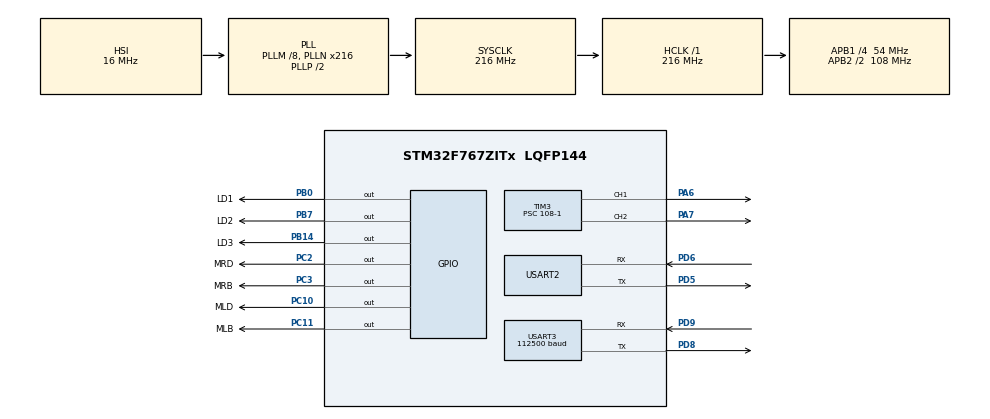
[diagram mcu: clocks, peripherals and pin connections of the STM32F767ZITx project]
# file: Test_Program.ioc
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Mcu.Family=STM32F7
Mcu.Name=STM32F767ZITx
Mcu.Package=LQFP144
NVIC.PriorityGroup=NVIC_PRIORITYGROUP_4
NVIC.TIM2_IRQn=true\:0\:0\:false\:false\:true\:true\:true\:true
NVIC.TIM3_IRQn=true\:0\:0\:false\:false\:true\:true\:true\:true
NVIC.USART2_IRQn=true\:0\:0\:false\:false\:true\:true\:true\:true
NVIC.USART3_IRQn=true\:0\:0\:false\:false\:true\:true\:true\:true
PA6.Signal=S_TIM3_CH1
PA7.Signal=S_TIM3_CH2
PB0.GPIO_Label=LD1
PB0.Signal=GPIO_Output
PB14.GPIO_Label=LD3
PB14.Signal=GPIO_Output
PB7.GPIO_Label=LD2
PB7.Signal=GPIO_Output
PC10.GPIO_Label=MLD
PC10.GPIO_PuPd=GPIO_PULLUP
PC10.Signal=GPIO_Output
PC11.GPIO_Label=MLB
PC11.GPIO_PuPd=GPIO_PULLUP
PC11.Signal=GPIO_Output
PC2.GPIO_Label=MRD
PC2.GPIO_PuPd=GPIO_PULLUP
PC2.Signal=GPIO_Output
PC3.GPIO_Label=MRB
PC3.GPIO_PuPd=GPIO_PULLUP
PC3.Signal=GPIO_Output
PD5.Mode=Asynchronous
PD5.Signal=USART2_TX
PD6.Mode=Asynchronous
PD6.Signal=USART2_RX
PD8.Mode=Asynchronous
PD8.Signal=USART3_TX
PD9.Mode=Asynchronous
PD9.Signal=USART3_RX
ProjectManager.HeapSize=0x200
ProjectManager.StackSize=0x400
ProjectManager.TargetToolchain=STM32CubeIDE
RCC.AHBFreq_Value=216000000
RCC.APB1CLKDivider=RCC_HCLK_DIV4
RCC.APB1Freq_Value=54000000
RCC.APB1TimFreq_Value=108000000
RCC.APB2CLKDivider=RCC_HCLK_DIV2
RCC.APB2Freq_Value=108000000
RCC.APB2TimFreq_Value=216000000
RCC.CortexFreq_Value=216000000
RCC.HCLKFreq_Value=216000000
RCC.HSE_VALUE=25000000
RCC.HSI_VALUE=16000000
RCC.LSE_VALUE=32768
RCC.PLLM=8
RCC.PLLN=216
RCC.SYSCLKFreq_VALUE=216000000
RCC.SYSCLKSource=RCC_SYSCLKSOURCE_PLLCLK
RCC.USBFreq_Value=216000000
RCC.VCOOutputFreq_Value=432000000
SH.S_TIM3_CH1.0=TIM3_CH1,PWM Generation1 CH1
SH.S_TIM3_CH2.0=TIM3_CH2,PWM Generation2 CH2
TIM2.Period=100-1
TIM2.Prescaler=108-1
TIM3.AutoReloadPreload=TIM_AUTORELOAD_PRELOAD_ENABLE
TIM3.Channel-PWM\ Generation1\ CH1=TIM_CHANNEL_1
TIM3.Channel-PWM\ Generation2\ CH2=TIM_CHANNEL_2
TIM3.Period=100-1
TIM3.Prescaler=108-1
TIM3.Pulse-PWM\ Generation1\ CH1=50-1
USART2.VirtualMode-Asynchronous=VM_ASYNC
USART3.BaudRate=112500
USART3.VirtualMode-Asynchronous=VM_ASYNC
VP_TIM2_VS_ClockSourceINT.Mode=Internal
VP_TIM3_VS_ClockSourceINT.Mode=Internal
board=custom

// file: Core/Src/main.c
/* USER CODE BEGIN Header */
/**
  ******************************************************************************
  * @file           : main.c
  * @brief          : Main program body
  ******************************************************************************
  * @attention
  *
  * Copyright (c) 2023 STMicroelectronics.
  * All rights reserved.
  *
  * This software is licensed under terms that can be found in the LICENSE file
  * in the root directory of this software component.
  * If no LICENSE file comes with this software, it is provided AS-IS.
  *
  ******************************************************************************
  */
/* USER CODE END Header */
#include "main.h"

/* USER CODE BEGIN Includes */
#include <stdio.h>
#include <string.h>
#include "stdbool.h"
#include "stdlib.h"
/* USER CODE END Includes */

/* USER CODE BEGIN PTD */
#define RX_BUF 10
/* USER CODE END PTD */

TIM_HandleTypeDef htim2;
TIM_HandleTypeDef htim3;

UART_HandleTypeDef huart2;
UART_HandleTypeDef huart3;

/* USER CODE BEGIN PV */
uint8_t rx_data;
char data_arr[RX_BUF] = "";
char data_cmd[RX_BUF] = "";
uint8_t idx;

uint8_t tim_flag;

struct speed{
	uint8_t mt1;
	uint8_t mt2;
	uint8_t mt3;
}motor;

/* USER CODE END PV */

void SystemClock_Config(void);
static void MX_GPIO_Init(void);
static void MX_USART3_UART_Init(void);
static void MX_TIM3_Init(void);
static void MX_USART2_UART_Init(void);
static void MX_TIM2_Init(void);
/* USER CODE BEGIN PFP */
void Command_Access();
void Motor_Test_Function();
void Motor_Reset();
void Motor_Drive();
void Motor_Stop();
void Motor_Dir(uint8_t dir);
void Motor_Spd(uint16_t spd);

//update 23.06.09
void Motor_Update();

void Msg_Help();
/* USER CODE END PFP */

/* USER CODE BEGIN 0 */
#ifdef __cplusplus
extern "C" int _write(int32_t file, uint8_t *ptr, int32_t len) {
#else
	int _write(int32_t file, uint8_t *ptr, int32_t len) {
#endif
		if( HAL_UART_Transmit(&huart2, ptr, len, len) == HAL_OK ) return len;
		else return 0;
	}

/* USER CODE END 0 */

int main(void)
{

  /* MCU Configuration--------------------------------------------------------*/

  /* Reset of all peripherals, Initializes the Flash interface and the Systick. */
  HAL_Init();

  /* Configure the system clock */
  SystemClock_Config();

  /* Initialize all configured peripherals */
  MX_GPIO_Init();
  MX_USART3_UART_Init();
  MX_TIM3_Init();
  MX_USART2_UART_Init();
  MX_TIM2_Init();
  /* USER CODE BEGIN 2 */
  HAL_TIM_Base_Start_IT(&htim2);
  HAL_TIM_Base_Start_IT(&htim3);

  HAL_TIM_PWM_Start(&htim3, TIM_CHANNEL_1);
  HAL_TIM_PWM_Start(&htim3, TIM_CHANNEL_2);

  HAL_UART_Receive_IT(&huart3, &rx_data, 1);
  HAL_UART_Receive_IT(&huart2, &rx_data, 1);

  HAL_GPIO_WritePin(LD1_GPIO_Port, LD1_Pin, RESET);
  HAL_GPIO_WritePin(LD1_GPIO_Port, LD1_Pin, SET);
  HAL_GPIO_WritePin(LD1_GPIO_Port, LD1_Pin, SET);

  printf("Program has been reset.\r\n");
  printf("Ver.1.0.0.\r\n");
  Motor_Reset();
  /* USER CODE END 2 */

  /* Infinite loop */
  /* USER CODE BEGIN WHILE */
  while (1)
  {
	  //printf("Hello  World\r\n");
	  if(tim_flag >= 10){
		  Motor_Update();
		  tim_flag = 0;
	  }
	  //Motor_Test_Function();
    /* USER CODE END WHILE */

  }
}

void SystemClock_Config(void)
{
  RCC_OscInitTypeDef RCC_OscInitStruct = {0};
  RCC_ClkInitTypeDef RCC_ClkInitStruct = {0};

  /** Configure the main internal regulator output voltage
  */
  __HAL_RCC_PWR_CLK_ENABLE();
  __HAL_PWR_VOLTAGESCALING_CONFIG(PWR_REGULATOR_VOLTAGE_SCALE1);

  /** Initializes the RCC Oscillators according to the specified parameters
  * in the RCC_OscInitTypeDef structure.
  */
  RCC_OscInitStruct.OscillatorType = RCC_OSCILLATORTYPE_HSI;
  RCC_OscInitStruct.HSIState = RCC_HSI_ON;
  RCC_OscInitStruct.HSICalibrationValue = RCC_HSICALIBRATION_DEFAULT;
  RCC_OscInitStruct.PLL.PLLState = RCC_PLL_ON;
  RCC_OscInitStruct.PLL.PLLSource = RCC_PLLSOURCE_HSI;
  RCC_OscInitStruct.PLL.PLLM = 8;
  RCC_OscInitStruct.PLL.PLLN = 216;
  RCC_OscInitStruct.PLL.PLLP = RCC_PLLP_DIV2;
  RCC_OscInitStruct.PLL.PLLQ = 2;
  RCC_OscInitStruct.PLL.PLLR = 2;
  if (HAL_RCC_OscConfig(&RCC_OscInitStruct) != HAL_OK)
  {
    Error_Handler();
  }

  /** Activate the Over-Drive mode
  */
  if (HAL_PWREx_EnableOverDrive() != HAL_OK)
  {
    Error_Handler();
  }

  /** Initializes the CPU, AHB and APB buses clocks
  */
  RCC_ClkInitStruct.ClockType = RCC_CLOCKTYPE_HCLK|RCC_CLOCKTYPE_SYSCLK
                              |RCC_CLOCKTYPE_PCLK1|RCC_CLOCKTYPE_PCLK2;
  RCC_ClkInitStruct.SYSCLKSource = RCC_SYSCLKSOURCE_PLLCLK;
  RCC_ClkInitStruct.AHBCLKDivider = RCC_SYSCLK_DIV1;
  RCC_ClkInitStruct.APB1CLKDivider = RCC_HCLK_DIV4;
  RCC_ClkInitStruct.APB2CLKDivider = RCC_HCLK_DIV2;

  if (HAL_RCC_ClockConfig(&RCC_ClkInitStruct, FLASH_LATENCY_7) != HAL_OK)
  {
    Error_Handler();
  }
}

static void MX_TIM2_Init(void)
{

  TIM_ClockConfigTypeDef sClockSourceConfig = {0};
  TIM_MasterConfigTypeDef sMasterConfig = {0};

  htim2.Instance = TIM2;
  htim2.Init.Prescaler = 108-1;
  htim2.Init.CounterMode = TIM_COUNTERMODE_UP;
  htim2.Init.Period = 100-1;
  htim2.Init.ClockDivision = TIM_CLOCKDIVISION_DIV1;
  htim2.Init.AutoReloadPreload = TIM_AUTORELOAD_PRELOAD_DISABLE;
  if (HAL_TIM_Base_Init(&htim2) != HAL_OK)
  {
    Error_Handler();
  }
  sClockSourceConfig.ClockSource = TIM_CLOCKSOURCE_INTERNAL;
  if (HAL_TIM_ConfigClockSource(&htim2, &sClockSourceConfig) != HAL_OK)
  {
    Error_Handler();
  }
  sMasterConfig.MasterOutputTrigger = TIM_TRGO_RESET;
  sMasterConfig.MasterSlaveMode = TIM_MASTERSLAVEMODE_DISABLE;
  if (HAL_TIMEx_MasterConfigSynchronization(&htim2, &sMasterConfig) != HAL_OK)
  {
    Error_Handler();
  }

}

static void MX_TIM3_Init(void)
{

  TIM_ClockConfigTypeDef sClockSourceConfig = {0};
  TIM_MasterConfigTypeDef sMasterConfig = {0};
  TIM_OC_InitTypeDef sConfigOC = {0};

  htim3.Instance = TIM3;
  htim3.Init.Prescaler = 108-1;
  htim3.Init.CounterMode = TIM_COUNTERMODE_UP;
  htim3.Init.Period = 100-1;
  htim3.Init.ClockDivision = TIM_CLOCKDIVISION_DIV1;
  htim3.Init.AutoReloadPreload = TIM_AUTORELOAD_PRELOAD_ENABLE;
  if (HAL_TIM_Base_Init(&htim3) != HAL_OK)
  {
    Error_Handler();
  }
  sClockSourceConfig.ClockSource = TIM_CLOCKSOURCE_INTERNAL;
  if (HAL_TIM_ConfigClockSource(&htim3, &sClockSourceConfig) != HAL_OK)
  {
    Error_Handler();
  }
  if (HAL_TIM_PWM_Init(&htim3) != HAL_OK)
  {
    Error_Handler();
  }
  sMasterConfig.MasterOutputTrigger = TIM_TRGO_RESET;
  sMasterConfig.MasterSlaveMode = TIM_MASTERSLAVEMODE_DISABLE;
  if (HAL_TIMEx_MasterConfigSynchronization(&htim3, &sMasterConfig) != HAL_OK)
  {
    Error_Handler();
  }
  sConfigOC.OCMode = TIM_OCMODE_PWM1;
  sConfigOC.Pulse = 50-1;
  sConfigOC.OCPolarity = TIM_OCPOLARITY_HIGH;
  sConfigOC.OCFastMode = TIM_OCFAST_DISABLE;
  if (HAL_TIM_PWM_ConfigChannel(&htim3, &sConfigOC, TIM_CHANNEL_1) != HAL_OK)
  {
    Error_Handler();
  }
  sConfigOC.Pulse = 0;
  if (HAL_TIM_PWM_ConfigChannel(&htim3, &sConfigOC, TIM_CHANNEL_2) != HAL_OK)
  {
    Error_Handler();
  }
  HAL_TIM_MspPostInit(&htim3);

}

static void MX_USART2_UART_Init(void)
{

  huart2.Instance = USART2;
  huart2.Init.BaudRate = 115200;
  huart2.Init.WordLength = UART_WORDLENGTH_8B;
  huart2.Init.StopBits = UART_STOPBITS_1;
  huart2.Init.Parity = UART_PARITY_NONE;
  huart2.Init.Mode = UART_MODE_TX_RX;
  huart2.Init.HwFlowCtl = UART_HWCONTROL_NONE;
  huart2.Init.OverSampling = UART_OVERSAMPLING_16;
  huart2.Init.OneBitSampling = UART_ONE_BIT_SAMPLE_DISABLE;
  huart2.AdvancedInit.AdvFeatureInit = UART_ADVFEATURE_NO_INIT;
  if (HAL_UART_Init(&huart2) != HAL_OK)
  {
    Error_Handler();
  }

}

static void MX_USART3_UART_Init(void)
{

  huart3.Instance = USART3;
  huart3.Init.BaudRate = 112500;
  huart3.Init.WordLength = UART_WORDLENGTH_8B;
  huart3.Init.StopBits = UART_STOPBITS_1;
  huart3.Init.Parity = UART_PARITY_NONE;
  huart3.Init.Mode = UART_MODE_TX_RX;
  huart3.Init.HwFlowCtl = UART_HWCONTROL_NONE;
  huart3.Init.OverSampling = UART_OVERSAMPLING_16;
  huart3.Init.OneBitSampling = UART_ONE_BIT_SAMPLE_DISABLE;
  huart3.AdvancedInit.AdvFeatureInit = UART_ADVFEATURE_NO_INIT;
  if (HAL_UART_Init(&huart3) != HAL_OK)
  {
    Error_Handler();
  }

}

static void MX_GPIO_Init(void)
{
  GPIO_InitTypeDef GPIO_InitStruct = {0};

  /* GPIO Ports Clock Enable */
  __HAL_RCC_GPIOC_CLK_ENABLE();
  __HAL_RCC_GPIOA_CLK_ENABLE();
  __HAL_RCC_GPIOB_CLK_ENABLE();
  __HAL_RCC_GPIOD_CLK_ENABLE();

  /*Configure GPIO pin Output Level */
  HAL_GPIO_WritePin(GPIOC, MRD_Pin|MRB_Pin|MLD_Pin|MLB_Pin, GPIO_PIN_RESET);

  /*Configure GPIO pin Output Level */
  HAL_GPIO_WritePin(GPIOB, LD1_Pin|LD3_Pin|LD2_Pin, GPIO_PIN_RESET);

  /*Configure GPIO pins : MRD_Pin MRB_Pin MLD_Pin MLB_Pin */
  GPIO_InitStruct.Pin = MRD_Pin|MRB_Pin|MLD_Pin|MLB_Pin;
  GPIO_InitStruct.Mode = GPIO_MODE_OUTPUT_PP;
  GPIO_InitStruct.Pull = GPIO_PULLUP;
  GPIO_InitStruct.Speed = GPIO_SPEED_FREQ_LOW;
  HAL_GPIO_Init(GPIOC, &GPIO_InitStruct);

  /*Configure GPIO pins : LD1_Pin LD3_Pin LD2_Pin */
  GPIO_InitStruct.Pin = LD1_Pin|LD3_Pin|LD2_Pin;
  GPIO_InitStruct.Mode = GPIO_MODE_OUTPUT_PP;
  GPIO_InitStruct.Pull = GPIO_NOPULL;
  GPIO_InitStruct.Speed = GPIO_SPEED_FREQ_LOW;
  HAL_GPIO_Init(GPIOB, &GPIO_InitStruct);

}

/* USER CODE BEGIN 4 */

void Motor_Update(){
	htim3.Instance->CCR1 = motor.mt1;
	htim3.Instance->CCR2 = motor.mt2;
}

void Motor_Test_Function(){
	//Motor Control Code for connection check(Not Essential)
	HAL_GPIO_WritePin(MLD_GPIO_Port, MLD_Pin, SET);
	HAL_GPIO_WritePin(MLB_GPIO_Port, MLB_Pin, RESET);

	HAL_GPIO_WritePin(MRD_GPIO_Port, MRD_Pin, RESET);
	HAL_GPIO_WritePin(MRB_GPIO_Port, MRB_Pin, RESET);
}

void Motor_Reset(){
	HAL_GPIO_WritePin(MLD_GPIO_Port, MLD_Pin, SET);
	HAL_GPIO_WritePin(MLB_GPIO_Port, MLB_Pin, SET);
	htim3.Instance->CCR1 = 50;

	HAL_GPIO_WritePin(MRD_GPIO_Port, MRD_Pin, SET);
	HAL_GPIO_WritePin(MRB_GPIO_Port, MRB_Pin, SET);
	htim3.Instance->CCR2 = 50;
}

void Motor_Drive(){
	HAL_GPIO_WritePin(MLB_GPIO_Port, MLB_Pin, RESET);
	HAL_GPIO_WritePin(MRB_GPIO_Port, MRB_Pin, RESET);
}

void Motor_Stop(){
	HAL_GPIO_WritePin(MLB_GPIO_Port, MLB_Pin, SET);
	HAL_GPIO_WritePin(MRB_GPIO_Port, MRB_Pin, SET);
}

void Motor_Dir(uint8_t dir){
	if(dir == 0){
		HAL_GPIO_WritePin(MRD_GPIO_Port, MRD_Pin, SET);
		HAL_GPIO_WritePin(MLD_GPIO_Port, MLD_Pin, SET);
	}else if(dir == 1){
		HAL_GPIO_WritePin(MRD_GPIO_Port, MRD_Pin, RESET);
		HAL_GPIO_WritePin(MLD_GPIO_Port, MLD_Pin, RESET);
	}else if(dir == 2){
		HAL_GPIO_WritePin(MRD_GPIO_Port, MRD_Pin, SET);
		HAL_GPIO_WritePin(MLD_GPIO_Port, MLD_Pin, RESET);
	}else if(dir == 3){
		HAL_GPIO_WritePin(MRD_GPIO_Port, MRD_Pin, RESET);
		HAL_GPIO_WritePin(MLD_GPIO_Port, MLD_Pin, SET);
	}
}

void Motor_Spd(uint16_t spd){
	htim3.Instance->CCR1 = spd;
	htim3.Instance->CCR2 = spd;
}

void Msg_Help(){
	printf("Command List\r\n");
	printf(">=========================\r\n");
	printf("*Command Example\r\n");
	printf("XXX000	XXX : Command, 000 : Value\r\n");
	printf("\r\n");
	printf("RST	: Motor Reset\r\n");
	printf("RUN	: Motor Operating\r\n");
	printf("BRK	: Brake On\r\n");

	printf("DIR0 	: Direction Changing\r\n");
	printf("   0	: forward \r\n");
	printf("   1	: reverse \r\n");
	printf("   2	: Rotate1 \r\n");
	printf("   3	: Rotate2 \r\n");

	printf("SPD000	: Speed Changing. Max100\r\n");
	printf("STS	: Check Motor Status.\r\n");

	printf("MLD0	: Left Motor Direction Changing\r\n");
	printf("   0	: forward \r\n");
	printf("   1	: reverse \r\n");

	printf("MRD0	: Right Motor Direction Changing\r\n");
	printf("   0	: forward \r\n");
	printf("   1	: reverse \r\n");

	printf("MLS000	: Left Motor Direction Changing\r\n");
	printf("MRS000	: Right Motor Direction Changing\r\n");

	printf("\r\n");
	printf("=========================<\r\n");
}

void Command_Access(){
	strncpy(data_cmd, data_arr+3, 4);
	data_cmd[3] = '\0';

	if(data_arr[idx-1]== '\r' || data_arr[idx-1]== '\n')
	{
		data_arr[idx] = '\0';

		if(strncmp((char*)data_arr, "RST", 3) == 0){
			Motor_Reset();
			printf("Device has been reset...\r\n");
			printf("Brakes	--> On\r\n");
			printf("Dir 	--> forward\r\n");
			printf("Speed	--> 500.\r\n");
			printf("(Maximum 100)\r\n");
		}else if(strncmp((char*)data_arr, "RUN", 3) == 0){
			Motor_Drive();
			printf("Motor Running...!\r\n");
			printf("Brakes	--> On\r\n");
			printf("Speed	--> %d.\r\n", htim3.Instance->CCR1);
			printf("(Maximum 100)\r\n");
		}if(strncmp((char*)data_arr, "BRK", 3) == 0){
			Motor_Stop();
			printf("Motor Stop...\r\n");
			printf("Brakes	--> Off\r\n");
		}else if(strncmp((char*)data_arr, "DIR", 3) == 0){
			if(atoi(data_cmd) <= 3){
				printf("Direction is Setting!!\r\n");
				if(atoi(data_cmd) ==  0)		printf("Forward Mode");
				else if(atoi(data_cmd) ==  1)	printf("Reverse Mode");
				else if(atoi(data_cmd) ==  2)	printf("Right Turn Mode");
				else if(atoi(data_cmd) ==  3)	printf("Left Turn Mode");
				Motor_Dir(atoi(data_cmd));
			}else{
				printf("Wrong Direction Command.\r\n");
			}
		}else if(strncmp((char*)data_arr, "SPD", 3) == 0){
			if(atoi(data_cmd) <= 100){
				motor.mt1 = atoi(data_cmd);
				motor.mt2 = atoi(data_cmd);
				printf("Speed Setting!\r\n");
			}else{
				printf("Wrong Speed Command.\r\n");
			}
		}else if(strncmp((char*)data_arr, "STS", 3) == 0){
			printf("Status Check\r\n\n");
			printf("Left Motor\r\n");
			printf("==================>\r\n");
			printf("Speed = %d\r\n", htim3.Instance->CCR1);
			printf("Brake = %d\r\n", HAL_GPIO_ReadPin(MLB_GPIO_Port, MLB_Pin));
			printf("Direction = %d\r\n", HAL_GPIO_ReadPin(MLD_GPIO_Port, MLD_Pin));
			printf("<==================\r\n");

			printf("Right Motor\r\n");
			printf("==================>\r\n");
			printf("Speed = %d\r\n", htim3.Instance->CCR2);
			printf("Brake = %d\r\n", HAL_GPIO_ReadPin(MRB_GPIO_Port, MRB_Pin));
			printf("Direction = %d\r\n", HAL_GPIO_ReadPin(MRD_GPIO_Port, MRD_Pin));
			printf("<==================\r\n");
		}else if(strncmp((char*)data_arr, "TST", 3) == 0){
			printf("Test Function.\r\n");
			Motor_Test_Function();
		}else if(strncmp((char*)data_arr, "MLD", 3) == 0){
			if(atoi(data_cmd) <= 1){
				HAL_GPIO_WritePin(MLD_GPIO_Port, MLD_Pin, atoi(data_cmd));
				printf("Left Motor Direction Setting!");
			}else printf("Wrong Direction Value...");
		}else if(strncmp((char*)data_arr, "MRD", 3) == 0){
			if(atoi(data_cmd) <= 1){
				HAL_GPIO_WritePin(MRD_GPIO_Port, MRD_Pin, atoi(data_cmd));
				printf("Right Motor Direction Setting!");
			}else printf("Wrong Direction Value...");
		}else if(strncmp((char*)data_arr, "MLS", 3) == 0){
			if(atoi(data_cmd) <= 100){
				motor.mt1 = atoi(data_cmd);
				printf("Left Motor Speed Setting!");
			}else printf("Wrong Speed Value...");
		}else if(strncmp((char*)data_arr, "MRS", 3) == 0){
			if(atoi(data_cmd) <= 100){
				motor.mt2 = atoi(data_cmd);
				printf("Right Motor Speed Setting!");
			}else printf("Wrong Speed Value...");
		}else if(strncmp((char*)data_arr, "ASK", 3) == 0){
			Msg_Help();
		}
		else{
			printf("Wrong Command.\r\n");
		}
		idx = 0;
		printf("\r\n");
	}
}

void HAL_UART_RxCpltCallback(UART_HandleTypeDef *huart){
	if (huart->Instance == huart2.Instance)
	{
		data_arr[idx++] = rx_data;
		HAL_UART_Transmit(&huart2, &rx_data, 1, 1); //10
		HAL_UART_Receive_IT(&huart2, &rx_data, 1);
	}if (huart->Instance == huart3.Instance)
	{
		HAL_UART_Transmit(&huart3, &rx_data, 1, 1); //10
		HAL_UART_Receive_IT(&huart3, &rx_data, 1);
	}
	Command_Access();
}

void HAL_TIM_PeriodElapsedCallback(TIM_HandleTypeDef *htim)
{
	if(htim->Instance == htim2.Instance)
	{
		tim_flag++;
	}
}
/* USER CODE END 4 */

void Error_Handler(void)
{
  __disable_irq();
  while (1)
  {
  }
}
